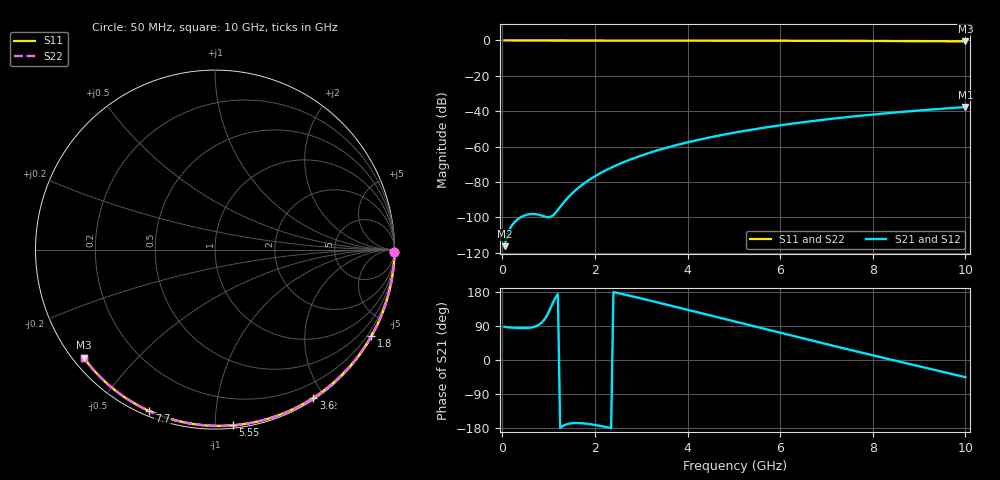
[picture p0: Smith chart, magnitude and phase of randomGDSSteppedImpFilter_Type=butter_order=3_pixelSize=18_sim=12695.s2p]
! freq	dB(S11)	phase(S11)	dB(S12)	phase(S12)
!  dB(S21)	phase(S21)	dB(S22)	phase(S22)
!S-par simulation data
#  GHz  S  DB  R 50
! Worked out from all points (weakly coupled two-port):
!   200 points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, 50 MHz to 10 GHz, reference 50 ohm
!   highest |S21| = -37.69 dB at 10 GHz (marker M1); lowest = -116.4 dB at 50 MHz (marker M2)
!   lowest |S11| = -0.5 dB at 10 GHz (marker M3), VSWR 36.70, Z = 1.54 - j17.9 ohm
!   |S11| at or under -10 dB: nowhere
!   |S22| runs from -0.5 to 0.0 dB; largest |S21 - S12| = 0
!   S11 on the Smith chart (normalised r, x): 50 MHz: open; 1.8 GHz: 0.03, -3.88; 3.6 GHz: 0.02, -1.86; 5.55 GHz: 0.02, -1.11; 7.7 GHz: 0.02, -0.67; 10 GHz: 0.03, -0.36
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0.05  -0.00 -0.8  -116.38 87.8  -116.38 87.8  -0.00 -0.8
0.45  -0.01 -7.3  -99.34 84.2  -99.34 84.2  -0.01 -7.3
0.9  -0.02 -14.6  -99.53 105.3  -99.53 105.3  -0.02 -14.6
1.3  -0.03 -21.0  -92.50 -174.8  -92.50 -174.8  -0.03 -21.0
1.75  -0.04 -28.1  -81.16 -167.3  -81.16 -167.3  -0.04 -28.1
1.8  -0.04 -28.9  -80.22 -167.9  -80.22 -167.9  -0.04 -28.9
2.15  -0.04 -34.4  -74.61 -174.7  -74.61 -174.7  -0.04 -34.4
2.35  -0.05 -37.5  -71.97 -179.6  -71.97 -179.6  -0.05 -37.5
2.55  -0.05 -40.6  -69.61 175.1  -69.61 175.1  -0.05 -40.6
2.95  -0.06 -46.7  -65.57 163.8  -65.57 163.8  -0.06 -46.7
3.4  -0.07 -53.5  -61.80 150.6  -61.80 150.6  -0.07 -53.5
3.6  -0.08 -56.4  -60.31 144.6  -60.31 144.6  -0.08 -56.5
3.9  -0.08 -60.9  -58.28 135.5  -58.28 135.5  -0.08 -60.9
4.3  -0.09 -66.7  -55.84 123.3  -55.84 123.3  -0.09 -66.7
5.05  -0.12 -77.2  -51.97 100.5  -51.97 100.5  -0.12 -77.3
5.55  -0.14 -84.1  -49.78 85.3  -49.78 85.3  -0.14 -84.1
6.1  -0.16 -91.5  -47.64 68.7  -47.64 68.7  -0.16 -91.5
6.7  -0.19 -99.4  -45.59 50.7  -45.59 50.7  -0.19 -99.4
7.7  -0.26 -112.2  -42.68 21.2  -42.68 21.2  -0.26 -112.2
8.35  -0.31 -120.3  -41.06 2.2  -41.06 2.2  -0.31 -120.3
9.2  -0.39 -130.8  -39.21 -22.4  -39.21 -22.4  -0.39 -130.8
10  -0.47 -140.6  -37.69 -45.4  -37.69 -45.4  -0.47 -140.6
